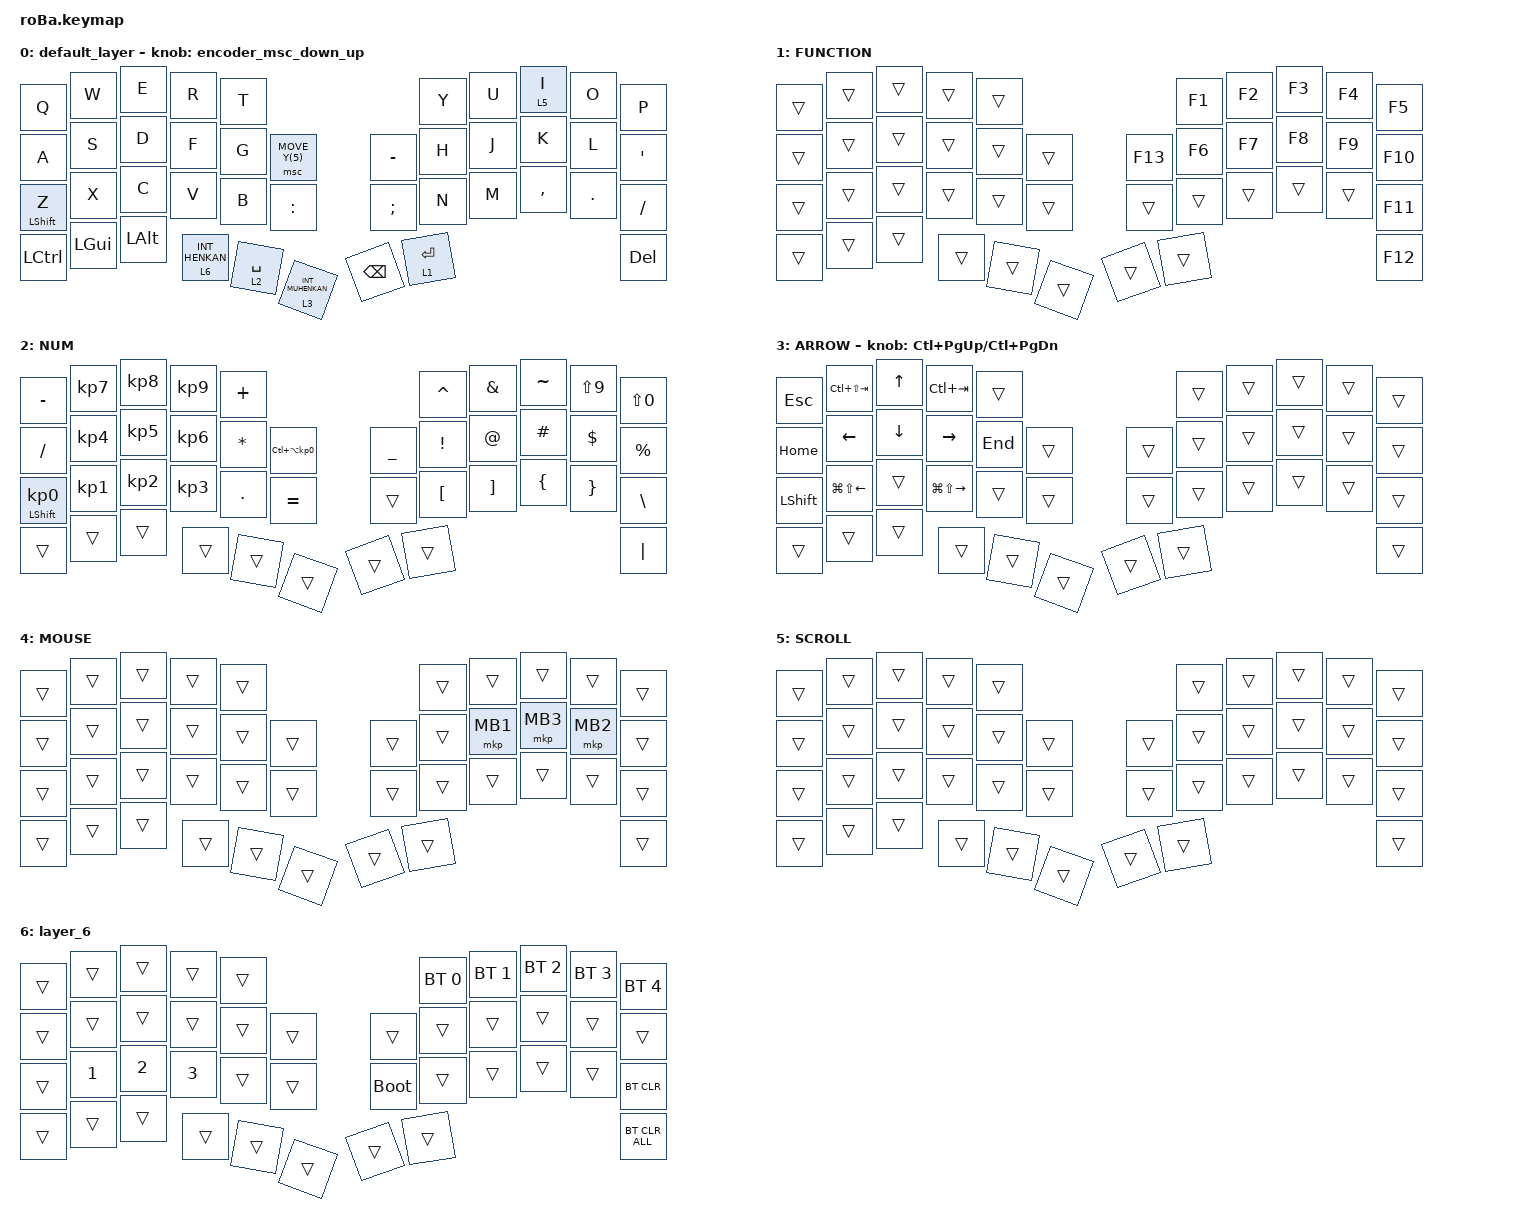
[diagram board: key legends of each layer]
#include <behaviors.dtsi>
#include <dt-bindings/zmk/bt.h>
#include <dt-bindings/zmk/keys.h>
#include <dt-bindings/zmk/pointing.h>

#define ZMK_POINTING_DEFAULT_SCRL_VAL 80

&mt {
    flavor = "balanced";
    quick-tap-ms = <0>;
};

&trackball {
    automouse-layer = <4>;
    scroll-layers = <5>;

    // 参考：キー名は LEFT/RIGHT/UP/DOWN が正
    // arrows {
    //     layers = <3>;
    //     bindings =
    //         <&kp RIGHT>,
    //         <&kp LEFT>,
    //         <&kp UP>,
    //         <&kp DOWN>;
    //     tick = <10>;
    //     wait-ms = <5>;
    //     tap-ms = <5>;
    // };
};

/ {
    combos {
        compatible = "zmk,combos";

        tab {
            bindings = <&kp TAB>;
            key-positions = <11 12>;
        };

        shift_tab {
            bindings = <&kp LS(TAB)>;
            key-positions = <12 13>;
        };

        muhennkann {
            // レイヤー0に戻すだけならマクロ不要
            bindings = <&to 0>;
            key-positions = <11 10>;
        };

        double_quotation {
            // DOUBLE_QUOTES は無いため Shift+SQT で代用
            bindings = <&kp LS(SQT)>;
            key-positions = <20 21>;
        };

        eq {
            bindings = <&kp EQUAL>;
            key-positions = <24 25>;
        };
    };

    // 不正なマクロ定義は削除（&to 0 を直に使う）
    // macros { ... } は丸ごと削除

    behaviors {
        lt_to_layer_0: lt_to_layer_0 {
            compatible = "zmk,behavior-hold-tap";
            label = "LAYER_TAP_TO_0";
            // Hold: &mo（第1引数でレイヤー番号）
            // Tap : &kp（第2引数でキー）
            bindings = <&mo>, <&kp>;
            #binding-cells = <2>;
            tapping-term-ms = <200>;
        };

        encoder_msc_down_up: encoder_msc_down_up {
            compatible = "zmk,behavior-sensor-rotate";
            label = "ENCODER_MSC_DOWN_UP";
            #sensor-binding-cells = <0>;
            bindings = <&msc SCRL_DOWN>, <&msc SCRL_UP>;
            tap-ms = <20>;
        };
    };

    keymap {
        compatible = "zmk,keymap";

        default_layer {
            bindings = <
&kp Q             &kp W         &kp E         &kp R                        &kp T                                                          &kp Y        &kp U  &lt 5 I    &kp O    &kp P
&kp A             &kp S         &kp D         &kp F                        &kp G        &msc MOVE_Y(5)                     &kp MINUS      &kp H        &kp J  &kp K      &kp L    &kp SQT
&mt LEFT_SHIFT Z  &kp X         &kp C         &kp V                        &kp B        &kp COLON                          &kp SEMICOLON  &kp N        &kp M  &kp COMMA  &kp DOT  &kp SLASH
&kp LCTRL         &kp LEFT_GUI  &kp LEFT_ALT  &lt_to_layer_0 6 INT_HENKAN  &lt 2 SPACE  &lt_to_layer_0 3 INT_MUHENKAN      &kp BACKSPACE  &lt 1 ENTER                             &kp DEL
            >;

            // 全角スペースを使わず ASCII 空白で
            sensor-bindings = <&encoder_msc_down_up>;
        };

        FUNCTION {
            bindings = <
&trans  &trans  &trans  &trans  &trans                       &kp F1  &kp F2  &kp F3  &kp F4  &kp F5
&trans  &trans  &trans  &trans  &trans  &trans      &kp F13  &kp F6  &kp F7  &kp F8  &kp F9  &kp F10
&trans  &trans  &trans  &trans  &trans  &trans      &trans   &trans  &trans  &trans  &trans  &kp F11
&trans  &trans  &trans  &trans  &trans  &trans      &trans   &trans                          &kp F12
            >;
        };

        NUM {
            bindings = <
&kp MINUS                   &kp KP_N7  &kp KP_N8  &kp KP_N9  &kp PLUS                                           &kp CARET         &kp AMPERSAND      &kp TILDE       &kp LS(N9)   &kp LS(N0)
&kp SLASH                   &kp KP_N4  &kp KP_N5  &kp KP_N6  &kp ASTERISK  &kp LC(LA(KP_N0))      &kp UNDERSCORE  &kp EXCLAMATION   &kp AT_SIGN       &kp HASH        &kp DOLLAR   &kp PERCENT
&mt LEFT_SHIFT KP_N0        &kp KP_N1  &kp KP_N2  &kp KP_N3  &kp PERIOD    &kp EQUAL              &trans          &kp LEFT_BRACKET  &kp RIGHT_BRACKET &kp LEFT_BRACE  &kp RIGHT_BRACE  &kp BACKSLASH
&trans                      &trans     &trans     &trans     &trans        &trans                 &trans          &trans                                                &kp PIPE
            >;
        };

        ARROW {
            bindings = <
&kp ESCAPE      &kp LC(LS(TAB))     &kp UP       &kp LC(TAB)            &trans                       &trans  &trans  &trans  &trans  &trans
&kp HOME        &kp LEFT            &kp DOWN     &kp RIGHT              &kp END  &trans      &trans  &trans  &trans  &trans  &trans  &trans
&kp LEFT_SHIFT  &kp LG(LS(LEFT))    &trans       &kp LG(LS(RIGHT))      &trans   &trans      &trans  &trans  &trans  &trans  &trans  &trans
&trans          &trans              &trans       &trans                 &trans   &trans      &trans  &trans                          &trans
            >;

            sensor-bindings = <&inc_dec_kp LC(PAGE_UP) LC(PAGE_DOWN)>;
        };

        MOUSE {
            bindings = <
&trans  &trans  &trans  &trans  &trans                      &trans  &trans    &trans    &trans    &trans
&trans  &trans  &trans  &trans  &trans  &trans      &trans  &trans  &mkp MB1  &mkp MB3  &mkp MB2  &trans
&trans  &trans  &trans  &trans  &trans  &trans      &trans  &trans  &trans    &trans    &trans    &trans
&trans  &trans  &trans  &trans  &trans  &trans      &trans  &trans                                &trans
            >;
        };

        SCROLL {
            bindings = <
&trans  &trans  &trans  &trans  &trans                      &trans  &trans  &trans  &trans  &trans
&trans  &trans  &trans  &trans  &trans  &trans      &trans  &trans  &trans  &trans  &trans  &trans
&trans  &trans  &trans  &trans  &trans  &trans      &trans  &trans  &trans  &trans  &trans  &trans
&trans  &trans  &trans  &trans  &trans  &trans      &trans  &trans                          &trans
            >;
        };

        layer_6 {
            bindings = <
&trans  &trans        &trans        &trans        &trans                           &bt BT_SEL 0  &bt BT_SEL 1  &bt BT_SEL 2  &bt BT_SEL 3  &bt BT_SEL 4
&trans  &trans        &trans        &trans        &trans  &trans      &trans       &trans        &trans        &trans        &trans        &trans
&trans  &kp N1        &kp N2        &kp N3        &trans  &trans      &bootloader  &trans        &trans        &trans        &trans        &bt BT_CLR
&trans  &trans        &trans        &trans        &trans  &trans      &trans       &trans                                                  &bt BT_CLR_ALL
            >;
        };
    };
};
